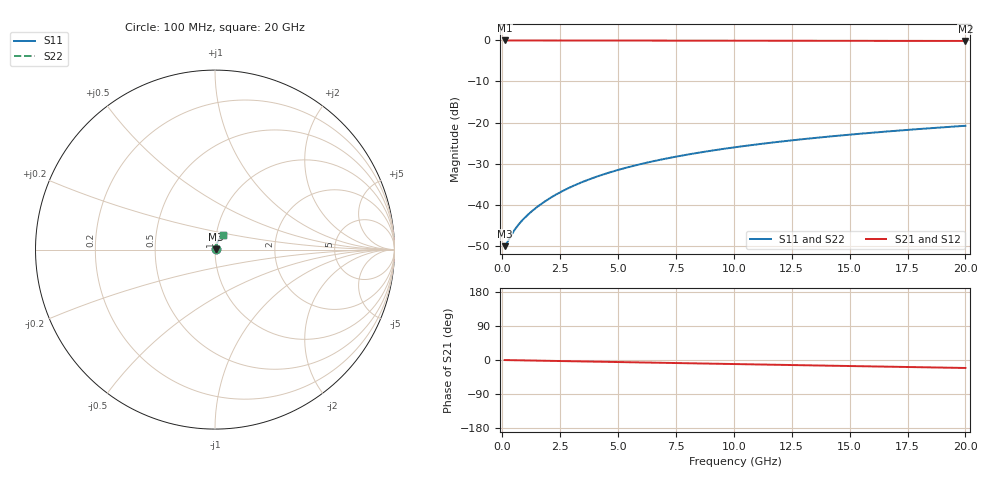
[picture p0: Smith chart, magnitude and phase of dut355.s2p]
! Touchstone file exported from HFSS 2026.1.0
!  File:  C:/ffzhzh/LocalFiles/Ansys_Project_Files/temp_train_TMRDL_355_1783004082_53980.aedt
!  Generated:  10:55:53 PM Jul  2, 2026
!  Design:  TMRDL
!  Project:  temp_train_TMRDL_355_1783004082_53980
! Variables:
!  h_bsmrdl = 2um
!  h_ox = 20um
!  h_rdl = 5um
!  h_sub = 80um
!  h_tmrdl = 3.43um
!  h_tsv = 80um
!  h_via = 3um
!  l_bsmrdl = 300um
!  l_sub = 764.31um
!  l_tmrdl = 364.31um
!  m_sub = 200um
!  pitch = 18.82um
!  r_tsv = 6um
!  s_tmrdl = 10um
!  w_bsmrdl = 18um
!  w_sub = 500um
!  w_tmrdl = 12.99um
!  x_tsv_center1 = 370.805um
!  x_tsv_center2 = 688.805um
!  x_tsv_center3 = 1066.105um
!  x_tsv_center4 = 1384.105um
!  x_tsv_center5 = 1761.405um
!  x_tsv_center6 = 2079.405um
# GHz S MA R 50.000000
! Terminal data exported
! Port[1] = TM_RDL1_1_T1
! Port[2] = TM_RDL1_1_T2
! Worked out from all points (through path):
!   200 points, 100 MHz to 20 GHz, reference 50 ohm
!   highest |S21| = -0.03 dB at 100 MHz (marker M1); lowest = -0.1 dB at 20 GHz (marker M2)
!   group delay of S21, straight-line fit = 2.92 ps
!   lowest |S11| = -50.1 dB at 100 MHz (marker M3), VSWR 1.01, Z = 50.3 + j0.0751 ohm
!   |S11| at or under -10 dB: start of sweep to end of sweep
!   |S22| runs from -50.1 to -20.8 dB; largest |S21 - S12| = 3.5e-15
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0.1  0.003135 13.8  0.997 -0.1  0.997 -0.1  0.003135 13.8
! Gamma 0 0 0 0
! Port Impedance 50 0 50 0
0.2  0.003437 24.6  0.9968 -0.2  0.9968 -0.2  0.003454 24.2
0.4  0.004324 38.3  0.9965 -0.5  0.9965 -0.5  0.004318 37.9
0.5  0.004799 42.5  0.9964 -0.6  0.9964 -0.6  0.004785 42.2
0.7  0.005731 48.5  0.9962 -0.8  0.9962 -0.8  0.005713 48.4
1  0.007089 54.7  0.9959 -1.1  0.9959 -1.1  0.007076 54.7
1.3  0.008453 59.1  0.9958 -1.4  0.9958 -1.4  0.008445 59.1
1.5  0.009378 61.4  0.9957 -1.7  0.9957 -1.7  0.009372 61.4
1.8  0.01079 64.2  0.9956 -2.0  0.9956 -2.0  0.01079 64.2
2.3  0.0132 67.3  0.9954 -2.5  0.9954 -2.5  0.0132 67.3
2.9  0.01615 69.6  0.9951 -3.2  0.9951 -3.2  0.01615 69.6
3.5  0.01912 71.0  0.9948 -3.8  0.9948 -3.8  0.01912 71.0
4.2  0.02258 71.8  0.9944 -4.6  0.9944 -4.6  0.02258 71.8
5  0.02651 72.1  0.9939 -5.4  0.9939 -5.4  0.02651 72.1
5.9  0.03088 72.0  0.9933 -6.4  0.9933 -6.4  0.03088 72.0
6.8  0.03518 71.7  0.9927 -7.4  0.9927 -7.4  0.03518 71.6
8.3  0.04217 70.7  0.9916 -8.9  0.9916 -8.9  0.04217 70.7
10.1  0.05029 69.4  0.9902 -10.8  0.9902 -10.8  0.0503 69.4
11.7  0.05731 68.1  0.989 -12.5  0.989 -12.5  0.05731 68.1
13.4  0.06457 66.7  0.9877 -14.3  0.9877 -14.3  0.06457 66.7
16.7  0.07821 63.8  0.9853 -17.7  0.9853 -17.7  0.07822 63.8
20  0.09134 61.0  0.983 -21.1  0.983 -21.1  0.09135 61.0
